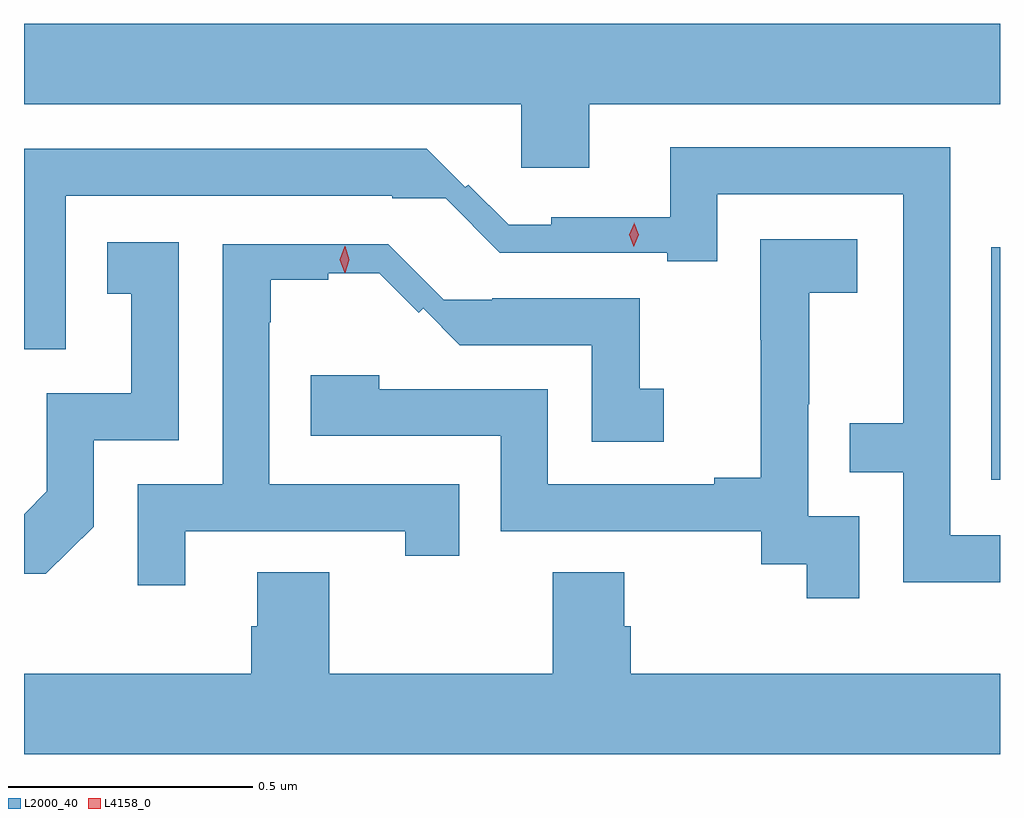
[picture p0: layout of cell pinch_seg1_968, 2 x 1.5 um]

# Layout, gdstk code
import gdstk
lib = gdstk.Library(unit=1e-6, precision=1e-09)
def R(c, l, rs):  # rectangles x0, y0, x1, y1
    for r in rs: c.add(gdstk.rectangle(r[:2], r[2:], *l))
def P(c, l, *ps):  # polygons
    for p in ps: c.add(gdstk.Polygon(p, *l))
L2000_40 = (2000, 40)
L4158_0 = (4158, 0)

pinch_seg1_968 = lib.new_cell('pinch_seg1_968')
R(pinch_seg1_968, L2000_40, [(133.173,536.31,133.191,536.786)])
P(pinch_seg1_968, L2000_40, [(132.349,537.08),(133.191,537.08),(133.191,537.244),(131.191,537.244),(131.191,537.08),(132.21,537.08),(132.21,536.949),(132.349,536.949)],
  [(133.191,536.196),(133.089,536.196),(133.089,536.991),(132.515,536.991),(132.515,536.848),(132.271,536.848),(132.271,536.833),(132.184,536.833),(132.101,536.915),(132.095,536.909),(132.016,536.988),(131.191,536.988),(131.191,536.577),(131.277,536.577),(131.277,536.892),(131.946,536.892),(131.946,536.887),(132.055,536.887),(132.166,536.775),(132.509,536.775),(132.509,536.758),(132.612,536.758),(132.612,536.895),(132.993,536.895),(132.993,536.426),(132.883,536.426),(132.883,536.325),(132.993,536.325),(132.993,536.1),(133.191,536.1)],
  [(132.903,536.235),(132.798,536.235),(132.798,536.465),(132.8,536.465),(132.8,536.693),(132.898,536.693),(132.898,536.803),(132.7,536.803),(132.7,536.597),(132.701,536.597),(132.701,536.314),(132.605,536.314),(132.605,536.301),(132.264,536.301),(132.264,536.496),(131.919,536.496),(131.919,536.524),(131.779,536.524),(131.779,536.4),(132.168,536.4),(132.168,536.205),(132.702,536.205),(132.702,536.137),(132.795,536.137),(132.795,536.067),(132.903,536.067)],
  [(131.334,536.214),(131.334,536.391),(131.508,536.391),(131.508,536.797),(131.362,536.797),(131.362,536.691),(131.411,536.691),(131.411,536.487),(131.238,536.487),(131.238,536.286),(131.191,536.239),(131.191,536.117),(131.236,536.117)],
  [(131.521,536.205),(131.972,536.205),(131.972,536.154),(132.083,536.154),(132.083,536.301),(131.694,536.301),(131.694,536.633),(131.697,536.633),(131.697,536.72),(131.814,536.72),(131.814,536.733),(131.919,536.733),(132,536.652),(132.009,536.661),(132.084,536.586),(132.354,536.586),(132.354,536.388),(132.502,536.388),(132.502,536.497),(132.453,536.497),(132.453,536.682),(132.151,536.682),(132.151,536.679),(132.051,536.679),(131.937,536.793),(131.598,536.793),(131.598,536.301),(131.424,536.301),(131.424,536.094),(131.521,536.094)],
  [(133.191,535.912),(132.434,535.912),(132.434,536.01),(132.421,536.01),(132.421,536.12),(132.274,536.12),(132.274,535.912),(131.817,535.912),(131.817,536.12),(131.669,536.12),(131.669,536.01),(131.657,536.01),(131.657,535.912),(131.191,535.912),(131.191,535.748),(133.191,535.748)])
P(pinch_seg1_968, L4158_0, [(132.44,536.787),(132.44,536.788),(132.431,536.812),(132.441,536.836),(132.441,536.837),(132.441,536.836),(132.451,536.812),(132.44,536.788)],
  [(131.848,536.734),(131.848,536.734),(131.838,536.761),(131.848,536.789),(131.848,536.789),(131.849,536.789),(131.858,536.761),(131.849,536.734)])

lib.write_gds('pinch_seg1_968.gds')
